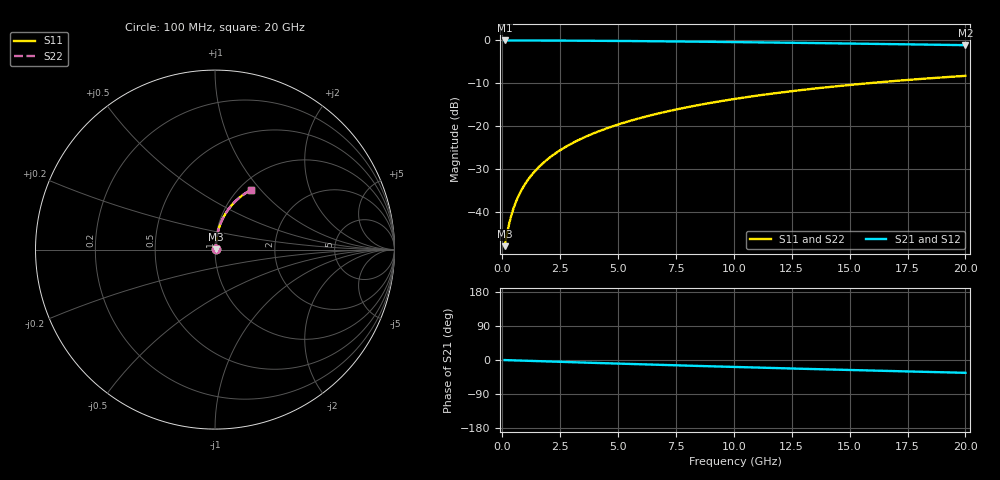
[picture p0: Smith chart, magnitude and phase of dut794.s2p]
! Touchstone file exported from HFSS 2024.1.0
!  File:  C:/UserFiles/LocalFiles/RDL_TSV_Batchsim/temp_RDL_bottom_794_1779861621.aedt
!  Generated:  02:03:02 PM May 27, 2026
!  Design:  RDL_bottom
!  Project:  temp_RDL_bottom_794_1779861621
!  Setup:  Setup1
!  Solution:  Sweep
! Variables:
!  dtsv = 10.80580581um
!  hbump = 3um
!  htsv = 73.82um
!  ldown = 429.19um
!  lrdl = 100um
!  p = 40
!  p1 = 46.34um
!  rhole = 1um
!  t = 450um
!  tdown = 3.49um
!  trdl = 3.915915916um
!  wdown = 13.54um
!  wrdl = 20um
# GHz S MA R 50.000000
! Terminal data exported
! Port[1] = RDL1_T1
! Port[2] = RDL1_T2
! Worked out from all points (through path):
!   200 points, 100 MHz to 20 GHz, reference 50 ohm
!   highest |S21| = -0.03 dB at 100 MHz (marker M1); lowest = -1.1 dB at 20 GHz (marker M2)
!   group delay of S21, straight-line fit = 4.69 ps
!   lowest |S11| = -48.0 dB at 100 MHz (marker M3), VSWR 1.01, Z = 50.3 + j0.22 ohm
!   |S11| at or under -10 dB: start of sweep to 15.81 GHz
!   |S22| runs from -48.0 to -8.3 dB; largest |S21 - S12| = 3.3e-15
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0.1  0.003986 33.2  0.9967 -0.2  0.9967 -0.2  0.003986 33.2
! Gamma 0 0 0 0
! Port Impedance 50 0 50 0
0.2  0.005521 52.0  0.9966 -0.4  0.9966 -0.4  0.005521 52.0
0.3  0.007368 61.7  0.9965 -0.6  0.9965 -0.6  0.007368 61.7
0.4  0.00932 67.2  0.9964 -0.8  0.9964 -0.8  0.00932 67.2
0.5  0.01131 70.8  0.9963 -1.0  0.9963 -1.0  0.01131 70.8
0.6  0.01332 73.3  0.9962 -1.2  0.9962 -1.2  0.01332 73.3
0.8  0.01737 76.5  0.9959 -1.6  0.9959 -1.6  0.01737 76.5
1.1  0.02348 79.1  0.9955 -2.1  0.9955 -2.1  0.02348 79.1
1.5  0.0317 80.9  0.9949 -2.9  0.9949 -2.9  0.0317 80.9
1.8  0.03789 81.6  0.9944 -3.5  0.9944 -3.5  0.03789 81.6
2.1  0.0441 81.9  0.9937 -4.1  0.9937 -4.1  0.0441 81.9
2.7  0.05654 82.2  0.9922 -5.2  0.9922 -5.2  0.05654 82.2
3.5  0.07317 81.9  0.9897 -6.7  0.9897 -6.7  0.07317 81.9
4.2  0.08774 81.4  0.9871 -8.0  0.9871 -8.0  0.08774 81.4
5  0.1044 80.6  0.9836 -9.5  0.9836 -9.5  0.1044 80.6
5.9  0.1231 79.5  0.9792 -11.2  0.9792 -11.2  0.1231 79.5
6.8  0.1417 78.4  0.9744 -12.8  0.9744 -12.8  0.1417 78.4
8.3  0.1725 76.3  0.9655 -15.4  0.9655 -15.4  0.1724 76.3
10.1  0.2087 73.7  0.9538 -18.5  0.9538 -18.5  0.2087 73.7
13.4  0.2725 68.8  0.9302 -23.9  0.9302 -23.9  0.2725 68.8
16.7  0.3317 63.8  0.9048 -29.0  0.9048 -29.0  0.3317 63.8
20  0.3856 59.1  0.8784 -33.8  0.8784 -33.8  0.3856 59.1
